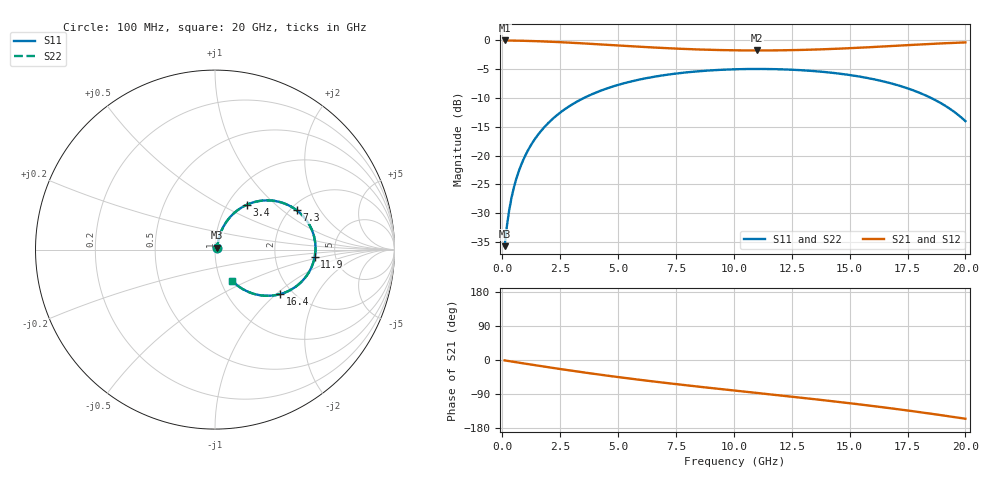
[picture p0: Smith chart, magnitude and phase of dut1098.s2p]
! Touchstone file exported from HFSS 2026.1.0
!  File:  C:/ffzhzh/LocalFiles/Ansys_Project_Files/temp_train_TSV_RDL_1098_1783302795_5512.aedt
!  Generated:  10:05:59 AM Jul  6, 2026
!  Design:  TSV_RDL
!  Project:  temp_train_TSV_RDL_1098_1783302795_5512
! Variables:
!  h_bsmrdl = 5.89um
!  h_ox = 20um
!  h_rdl = 5um
!  h_sub = 77um
!  h_tmrdl = 2.83um
!  h_tsv = 77um
!  h_via = 3um
!  l_bsmrdl = 180.03um
!  l_sub = 2635.71um
!  l_tmrdl = 392.39um
!  m_sub = 200um
!  pitch = 54um
!  r_tsv = 6.77um
!  s_tmrdl = 10um
!  w_bsmrdl = 19.63um
!  w_sub = 500um
!  w_tmrdl = 22.39um
!  x_tsv_center1 = 403.585um
!  x_tsv_center2 = 603.245um
!  x_tsv_center3 = 1018.025um
!  x_tsv_center4 = 1217.685um
!  x_tsv_center5 = 1632.465um
!  x_tsv_center6 = 1832.125um
# GHz S MA R 50.000000
! Terminal data exported
! Port[1] = TM_RDL1_1_T1
! Port[2] = TM_RDL5_1_T1
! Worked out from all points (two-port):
!   200 points, 100 MHz to 20 GHz, reference 50 ohm
!   highest |S21| = -0.11 dB at 100 MHz (marker M1); lowest = -1.8 dB at 11 GHz (marker M2)
!   |S21| within 3 dB of the highest: start of sweep to end of sweep
!   lowest |S11| = -35.7 dB at 100 MHz (marker M3), VSWR 1.03, Z = 51.3 + j1.07 ohm
!   |S11| at or under -10 dB: start of sweep to 3.551 GHz; 18.49 GHz to end of sweep
!   |S22| runs from -35.7 to -5.0 dB; largest |S21 - S12| = 1e-13
!   S11 on the Smith chart (normalised r, x): 100 MHz: 1.03, +0.02; 3.4 GHz: 1.22, +0.67; 7.3 GHz: 2.16, +1.27; 11.9 GHz: 3.47, -0.39; 16.4 GHz: 1.73, -1.06; 20 GHz: 1.13, -0.41
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0.1  0.01648 39.1  0.9873 -1.0  0.9873 -1.0  0.01648 39.1
! Gamma 0 0 0 0
! Port Impedance 50 0 50 0
0.2  0.02471 56.2  0.9868 -2.0  0.9868 -2.0  0.02471 56.2
0.3  0.03394 63.6  0.9861 -3.0  0.9861 -3.0  0.03394 63.6
0.5  0.05293 69.5  0.9845 -5.0  0.9845 -5.0  0.05293 69.5
0.8  0.08161 71.6  0.9818 -7.9  0.9818 -7.9  0.08161 71.6
1.1  0.1101 71.1  0.9784 -10.7  0.9784 -10.7  0.1101 71.1
1.6  0.1565 68.5  0.9714 -15.5  0.9714 -15.5  0.1565 68.5
2.1  0.201 65.0  0.9625 -20.1  0.9625 -20.1  0.201 65.0
3.4  0.3053 54.7  0.9337 -31.8  0.9337 -31.8  0.3053 54.7
3.5  0.3126 53.9  0.9313 -32.7  0.9313 -32.7  0.3126 53.9
5.1  0.4131 41.5  0.8912 -45.8  0.8912 -45.8  0.4131 41.5
6.8  0.4885 29.2  0.8528 -58.7  0.8528 -58.7  0.4885 29.2
7.3  0.5051 25.7  0.8434 -62.2  0.8434 -62.2  0.5051 25.7
10.1  0.5569 7.4  0.8111 -81.1  0.8111 -81.1  0.5569 7.4
11  0.5601 1.7  0.809 -87.0  0.809 -87.0  0.5601 1.7
11.9  0.5572 -4.0  0.8108 -92.9  0.8108 -92.9  0.5572 -4.0
13.4  0.538 -13.6  0.8227 -102.8  0.8227 -102.8  0.5381 -13.6
14.9  0.4998 -23.6  0.8447 -113.3  0.8447 -113.3  0.4998 -23.7
16.4  0.4401 -34.2  0.8746 -124.5  0.8746 -124.5  0.4401 -34.3
16.7  0.4253 -36.4  0.8812 -126.8  0.8812 -126.8  0.4253 -36.5
18.6  0.3087 -50.8  0.9237 -142.5  0.9237 -142.5  0.3087 -50.9
20  0.1985 -61.1  0.9496 -155.0  0.9496 -155.0  0.1985 -61.2
